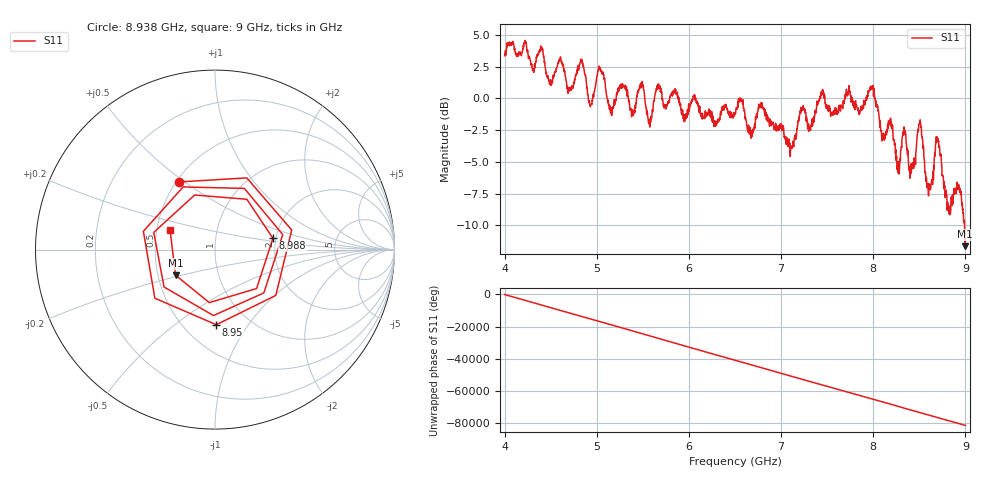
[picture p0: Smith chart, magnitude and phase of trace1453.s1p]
! Created with skrf 1.8.0 (http://scikit-rf.org).
# Hz S RI R 50.0
!freq ReS11 ImS11
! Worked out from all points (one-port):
!   1601 points, 4 GHz to 9 GHz, reference 50 ohm
!   lowest |S11| = -11.6 dB at 8.997 GHz (marker M1), VSWR 1.71, Z = 30.9 - j9.44 ohm
!   |S11| at or under -10 dB: 8.991165 GHz to end of sweep
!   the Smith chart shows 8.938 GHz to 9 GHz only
!   S11 on the Smith chart (normalised r, x): 8.938 GHz: 0.52, +0.48; 8.95 GHz: 0.71, -0.72; 8.988 GHz: 1.93, +0.27; 9 GHz: 0.59, +0.14
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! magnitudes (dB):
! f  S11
! 4 GHz  3.3
! 4.625 GHz  2.9
! 4.703 GHz  0.8
! 4.838 GHz  3.1
! 4.931 GHz  -0.7
! 5.034 GHz  2.4
! 5.15 GHz  -1.2
! 5.25 GHz  0.9
! 5.488 GHz  1.1
! 5.575 GHz  -2.3
! 5.662 GHz  0.9
! 5.875 GHz  0.5
! 6.5 GHz  -1.2
! 7.125 GHz  -3.8
! 7.228 GHz  -0.9
! 7.75 GHz  0.3
! 7.988 GHz  0.9
! 8.106 GHz  -2.8
! 8.375 GHz  -4.1
! 8.503 GHz  -2.0
! 8.597 GHz  -7.0
! 8.7 GHz  -3.2
! 8.812 GHz  -8.5
! 8.938 GHz  -7.4
! 8.95 GHz  -7.6
! 8.988 GHz  -9.7
! 8.997 GHz  -11.6
! 9 GHz  -11.3
